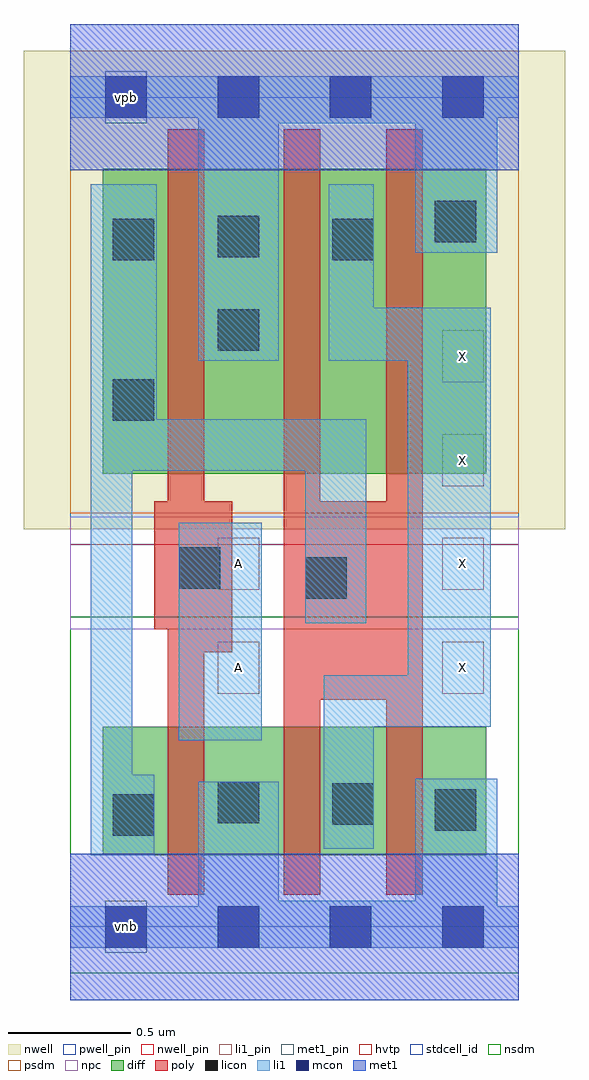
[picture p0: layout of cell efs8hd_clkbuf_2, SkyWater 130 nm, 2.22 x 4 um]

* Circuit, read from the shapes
.subckt efs8hd_clkbuf_2 A X vgnd vnb vpb vpwr
XM1 vgnd A n1 vnb sky130_fd_pr__nfet_01v8 w=0.525 l=0.15
XM2 X n1 vgnd vnb sky130_fd_pr__nfet_01v8 w=0.525 l=0.15 m=2
XM3 vpwr A n1 vpb sky130_fd_pr__pfet_01v8_hvt w=1.25 l=0.15
XM4 X n1 vpwr vpb sky130_fd_pr__pfet_01v8_hvt w=1.25 l=0.15 m=2
.ends

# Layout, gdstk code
import gdstk
lib = gdstk.Library(unit=1e-6, precision=1e-09)
def R(c, l, rs):  # rectangles x0, y0, x1, y1
    for r in rs: c.add(gdstk.rectangle(r[:2], r[2:], *l))
def A(c, l, x, y, w, h, nx, ny, dx, dy):  # array of equal rectangles
    R(c, l, [(x+i*dx, y+j*dy, x+i*dx+w, y+j*dy+h) for i in range(nx) for j in range(ny)])
def P(c, l, *ps):  # polygons
    for p in ps: c.add(gdstk.Polygon(p, *l))
nwell_pin = (64, 16)
nwell = (64, 20)
diff = (65, 20)
poly = (66, 20)
licon = (66, 44)
li1_pin = (67, 16)
li1 = (67, 20)
mcon = (67, 44)
met1_pin = (68, 16)
met1 = (68, 20)
hvtp = (78, 44)
stdcell_id = (81, 4)
nsdm = (93, 44)
psdm = (94, 20)
npc = (95, 20)
pwell_pin = (122, 16)

efs8hd_clkbuf_2 = lib.new_cell('efs8hd_clkbuf_2')
R(efs8hd_clkbuf_2, nwell_pin, [(0.145,3.294,0.315,3.506)])
R(efs8hd_clkbuf_2, nwell, [(-0.19,1.63,2.03,3.59)])
R(efs8hd_clkbuf_2, diff, [(0.135,0.294,1.705,0.819), (0.135,1.856,1.705,3.106)])
P(efs8hd_clkbuf_2, poly, [(0.4,3.269),(0.4,1.744),(0.345,1.744),(0.345,1.219),(0.4,1.219),(0.4,0.131),(0.55,0.131),(0.55,1.125),(0.665,1.125),(0.665,1.744),(0.55,1.744),(0.55,3.269)],
  [(1.295,3.269),(1.295,1.744),(1.025,1.744),(1.025,3.269),(0.875,3.269),(0.875,0.131),(1.025,0.131),(1.025,0.931),(1.295,0.931),(1.295,0.131),(1.445,0.131),(1.445,3.269)])
R(efs8hd_clkbuf_2, licon, [(0.175,0.374,0.345,0.544), (1.495,0.394,1.665,0.564), (1.075,0.419,1.245,0.589), (0.605,0.425,0.775,0.595), (0.965,1.344,1.135,1.514), (0.445,1.386,0.615,1.556), (0.175,2.075,0.345,2.245), (0.605,2.361,0.775,2.531), (0.175,2.731,0.345,2.901), (1.075,2.731,1.245,2.901), (0.605,2.744,0.775,2.914), (1.495,2.805,1.665,2.975)])
A(efs8hd_clkbuf_2, li1_pin, 1.525, 0.956, 0.17, 0.213, 1, 4, 0, 0.425)
R(efs8hd_clkbuf_2, li1_pin, [(0.605,0.956,0.775,1.169), (0.605,1.381,0.775,1.594)])
R(efs8hd_clkbuf_2, li1, [(0.445,0.765,0.785,1.656)])
P(efs8hd_clkbuf_2, li1, [(0.525,0.595),(0.525,0.085),(0,0.085),(0,-0.085),(1.84,-0.085),(1.84,0.085),(1.75,0.085),(1.75,0.606),(1.415,0.606),(1.415,0.106),(0.855,0.106),(0.855,0.595)],
  [(0.085,3.044),(0.085,0.294),(0.345,0.294),(0.345,0.624),(0.255,0.624),(0.255,1.869),(0.965,1.869),(0.965,1.244),(1.215,1.244),(1.215,2.081),(0.355,2.081),(0.355,3.044)],
  [(1.06,3.044),(1.06,2.319),(1.385,2.319),(1.385,1.031),(1.04,1.031),(1.04,0.319),(1.245,0.319),(1.245,0.819),(1.725,0.819),(1.725,2.538),(1.245,2.538),(1.245,3.044)],
  [(0,3.485),(0,3.315),(0.525,3.315),(0.525,2.319),(0.855,2.319),(0.855,3.294),(1.415,3.294),(1.415,2.763),(1.75,2.763),(1.75,3.315),(1.84,3.315),(1.84,3.485)])
R(efs8hd_clkbuf_2, mcon, [(0.145,-0.085,0.315,0.085), (0.145,-0.085,0.315,0.085), (0.145,-0.085,0.315,0.085), (0.145,-0.085,0.315,0.085), (0.145,-0.085,0.315,0.085), (0.145,-0.085,0.315,0.085), (0.145,-0.085,0.315,0.085), (0.145,-0.085,0.315,0.085), (0.145,-0.085,0.315,0.085), (0.145,-0.085,0.315,0.085), (0.145,-0.085,0.315,0.085), (0.145,-0.085,0.315,0.085), (0.145,-0.085,0.315,0.085), (0.145,-0.085,0.315,0.085), (0.145,-0.085,0.315,0.085), (0.145,-0.085,0.315,0.085), (0.145,-0.085,0.315,0.085), (0.145,-0.085,0.315,0.085), (0.145,-0.085,0.315,0.085), (0.145,-0.085,0.315,0.085), (0.145,-0.085,0.315,0.085), (0.145,-0.085,0.315,0.085), (0.145,-0.085,0.315,0.085), (0.145,-0.085,0.315,0.085), (0.145,-0.085,0.315,0.085), (0.145,-0.085,0.315,0.085), (0.145,-0.085,0.315,0.085), (0.145,-0.085,0.315,0.085), (0.145,-0.085,0.315,0.085), (0.145,-0.085,0.315,0.085), (0.145,-0.085,0.315,0.085), (0.145,-0.085,0.315,0.085), (0.145,-0.085,0.315,0.085), (0.145,-0.085,0.315,0.085), (0.145,-0.085,0.315,0.085), (0.145,-0.085,0.315,0.085), (0.145,-0.085,0.315,0.085), (0.145,-0.085,0.315,0.085), (0.145,-0.085,0.315,0.085), (0.145,-0.085,0.315,0.085), (0.145,-0.085,0.315,0.085), (0.145,-0.085,0.315,0.085), (0.145,-0.085,0.315,0.085), (0.145,-0.085,0.315,0.085), (0.145,-0.085,0.315,0.085), (0.145,-0.085,0.315,0.085), (0.145,-0.085,0.315,0.085), (0.145,-0.085,0.315,0.085), (0.145,-0.085,0.315,0.085), (0.145,-0.085,0.315,0.085), (0.145,-0.085,0.315,0.085), (0.145,-0.085,0.315,0.085), (0.145,-0.085,0.315,0.085), (0.145,-0.085,0.315,0.085), (0.145,-0.085,0.315,0.085), (0.145,-0.085,0.315,0.085), (0.145,-0.085,0.315,0.085), (0.145,-0.085,0.315,0.085), (0.145,-0.085,0.315,0.085), (0.145,-0.085,0.315,0.085), (0.145,-0.085,0.315,0.085), (0.145,-0.085,0.315,0.085), (0.145,-0.085,0.315,0.085), (0.145,-0.085,0.315,0.085), (0.145,-0.085,0.315,0.085), (0.145,-0.085,0.315,0.085), (0.145,-0.085,0.315,0.085), (0.145,-0.085,0.315,0.085), (0.145,-0.085,0.315,0.085), (0.145,-0.085,0.315,0.085), (0.145,-0.085,0.315,0.085), (0.145,-0.085,0.315,0.085), (0.145,-0.085,0.315,0.085), (0.145,-0.085,0.315,0.085), (0.145,-0.085,0.315,0.085), (0.145,-0.085,0.315,0.085), (0.145,-0.085,0.315,0.085), (0.145,-0.085,0.315,0.085), (0.145,-0.085,0.315,0.085), (0.145,-0.085,0.315,0.085), (0.145,-0.085,0.315,0.085), (0.145,-0.085,0.315,0.085), (0.145,-0.085,0.315,0.085), (0.145,-0.085,0.315,0.085), (0.145,-0.085,0.315,0.085), (0.145,-0.085,0.315,0.085), (0.145,-0.085,0.315,0.085), (0.145,-0.085,0.315,0.085), (0.145,-0.085,0.315,0.085), (0.145,-0.085,0.315,0.085), (0.145,-0.085,0.315,0.085), (0.145,-0.085,0.315,0.085), (0.145,-0.085,0.315,0.085), (0.145,-0.085,0.315,0.085), (0.145,-0.085,0.315,0.085), (0.145,-0.085,0.315,0.085), (0.145,-0.085,0.315,0.085), (0.145,-0.085,0.315,0.085), (0.145,-0.085,0.315,0.085), (0.145,-0.085,0.315,0.085), (0.145,-0.085,0.315,0.085), (0.145,-0.085,0.315,0.085), (0.145,-0.085,0.315,0.085), (0.145,-0.085,0.315,0.085), (0.145,-0.085,0.315,0.085), (0.145,-0.085,0.315,0.085), (0.145,-0.085,0.315,0.085), (0.145,-0.085,0.315,0.085), (0.145,-0.085,0.315,0.085), (0.605,-0.085,0.775,0.085), (0.605,-0.085,0.775,0.085), (0.605,-0.085,0.775,0.085), (0.605,-0.085,0.775,0.085), (0.605,-0.085,0.775,0.085), (0.605,-0.085,0.775,0.085), (0.605,-0.085,0.775,0.085), (0.605,-0.085,0.775,0.085), (0.605,-0.085,0.775,0.085), (0.605,-0.085,0.775,0.085), (0.605,-0.085,0.775,0.085), (0.605,-0.085,0.775,0.085), (0.605,-0.085,0.775,0.085), (0.605,-0.085,0.775,0.085), (0.605,-0.085,0.775,0.085), (0.605,-0.085,0.775,0.085), (0.605,-0.085,0.775,0.085), (0.605,-0.085,0.775,0.085), (0.605,-0.085,0.775,0.085), (0.605,-0.085,0.775,0.085), (0.605,-0.085,0.775,0.085), (0.605,-0.085,0.775,0.085), (0.605,-0.085,0.775,0.085), (0.605,-0.085,0.775,0.085), (0.605,-0.085,0.775,0.085), (0.605,-0.085,0.775,0.085), (0.605,-0.085,0.775,0.085), (0.605,-0.085,0.775,0.085), (0.605,-0.085,0.775,0.085), (0.605,-0.085,0.775,0.085), (0.605,-0.085,0.775,0.085), (0.605,-0.085,0.775,0.085), (0.605,-0.085,0.775,0.085), (0.605,-0.085,0.775,0.085), (0.605,-0.085,0.775,0.085), (0.605,-0.085,0.775,0.085), (0.605,-0.085,0.775,0.085), (0.605,-0.085,0.775,0.085), (0.605,-0.085,0.775,0.085), (0.605,-0.085,0.775,0.085), (0.605,-0.085,0.775,0.085), (0.605,-0.085,0.775,0.085), (0.605,-0.085,0.775,0.085), (0.605,-0.085,0.775,0.085), (0.605,-0.085,0.775,0.085), (0.605,-0.085,0.775,0.085), (0.605,-0.085,0.775,0.085), (0.605,-0.085,0.775,0.085), (0.605,-0.085,0.775,0.085), (0.605,-0.085,0.775,0.085), (0.605,-0.085,0.775,0.085), (0.605,-0.085,0.775,0.085), (0.605,-0.085,0.775,0.085), (0.605,-0.085,0.775,0.085), (0.605,-0.085,0.775,0.085), (0.605,-0.085,0.775,0.085), (0.605,-0.085,0.775,0.085), (0.605,-0.085,0.775,0.085), (0.605,-0.085,0.775,0.085), (0.605,-0.085,0.775,0.085), (0.605,-0.085,0.775,0.085), (0.605,-0.085,0.775,0.085), (0.605,-0.085,0.775,0.085), (0.605,-0.085,0.775,0.085), (0.605,-0.085,0.775,0.085), (0.605,-0.085,0.775,0.085), (0.605,-0.085,0.775,0.085), (0.605,-0.085,0.775,0.085), (0.605,-0.085,0.775,0.085), (0.605,-0.085,0.775,0.085), (0.605,-0.085,0.775,0.085), (0.605,-0.085,0.775,0.085), (0.605,-0.085,0.775,0.085), (0.605,-0.085,0.775,0.085), (0.605,-0.085,0.775,0.085), (0.605,-0.085,0.775,0.085), (0.605,-0.085,0.775,0.085), (0.605,-0.085,0.775,0.085), (0.605,-0.085,0.775,0.085), (0.605,-0.085,0.775,0.085), (0.605,-0.085,0.775,0.085), (0.605,-0.085,0.775,0.085), (0.605,-0.085,0.775,0.085), (0.605,-0.085,0.775,0.085), (0.605,-0.085,0.775,0.085), (0.605,-0.085,0.775,0.085), (0.605,-0.085,0.775,0.085), (0.605,-0.085,0.775,0.085), (0.605,-0.085,0.775,0.085), (0.605,-0.085,0.775,0.085), (0.605,-0.085,0.775,0.085), (0.605,-0.085,0.775,0.085), (0.605,-0.085,0.775,0.085), (0.605,-0.085,0.775,0.085), (0.605,-0.085,0.775,0.085), (0.605,-0.085,0.775,0.085), (0.605,-0.085,0.775,0.085), (0.605,-0.085,0.775,0.085), (0.605,-0.085,0.775,0.085), (0.605,-0.085,0.775,0.085), (0.605,-0.085,0.775,0.085), (0.605,-0.085,0.775,0.085), (0.605,-0.085,0.775,0.085), (0.605,-0.085,0.775,0.085), (0.605,-0.085,0.775,0.085), (0.605,-0.085,0.775,0.085), (0.605,-0.085,0.775,0.085), (0.605,-0.085,0.775,0.085), (0.605,-0.085,0.775,0.085), (1.065,-0.085,1.235,0.085), (1.065,-0.085,1.235,0.085), (1.065,-0.085,1.235,0.085), (1.065,-0.085,1.235,0.085), (1.065,-0.085,1.235,0.085), (1.065,-0.085,1.235,0.085), (1.065,-0.085,1.235,0.085), (1.065,-0.085,1.235,0.085), (1.065,-0.085,1.235,0.085), (1.065,-0.085,1.235,0.085), (1.065,-0.085,1.235,0.085), (1.065,-0.085,1.235,0.085), (1.065,-0.085,1.235,0.085), (1.065,-0.085,1.235,0.085), (1.065,-0.085,1.235,0.085), (1.065,-0.085,1.235,0.085), (1.065,-0.085,1.235,0.085), (1.065,-0.085,1.235,0.085), (1.065,-0.085,1.235,0.085), (1.065,-0.085,1.235,0.085), (1.065,-0.085,1.235,0.085), (1.065,-0.085,1.235,0.085), (1.065,-0.085,1.235,0.085), (1.065,-0.085,1.235,0.085), (1.065,-0.085,1.235,0.085), (1.065,-0.085,1.235,0.085), (1.065,-0.085,1.235,0.085), (1.065,-0.085,1.235,0.085), (1.065,-0.085,1.235,0.085), (1.065,-0.085,1.235,0.085), (1.065,-0.085,1.235,0.085), (1.065,-0.085,1.235,0.085), (1.065,-0.085,1.235,0.085), (1.065,-0.085,1.235,0.085), (1.065,-0.085,1.235,0.085), (1.065,-0.085,1.235,0.085), (1.065,-0.085,1.235,0.085), (1.065,-0.085,1.235,0.085), (1.065,-0.085,1.235,0.085), (1.065,-0.085,1.235,0.085), (1.065,-0.085,1.235,0.085), (1.065,-0.085,1.235,0.085), (1.065,-0.085,1.235,0.085), (1.065,-0.085,1.235,0.085), (1.065,-0.085,1.235,0.085), (1.065,-0.085,1.235,0.085), (1.065,-0.085,1.235,0.085), (1.065,-0.085,1.235,0.085), (1.065,-0.085,1.235,0.085), (1.065,-0.085,1.235,0.085), (1.065,-0.085,1.235,0.085), (1.065,-0.085,1.235,0.085), (1.065,-0.085,1.235,0.085), (1.065,-0.085,1.235,0.085), (1.065,-0.085,1.235,0.085), (1.065,-0.085,1.235,0.085), (1.065,-0.085,1.235,0.085), (1.065,-0.085,1.235,0.085), (1.065,-0.085,1.235,0.085), (1.065,-0.085,1.235,0.085), (1.065,-0.085,1.235,0.085), (1.065,-0.085,1.235,0.085), (1.065,-0.085,1.235,0.085), (1.065,-0.085,1.235,0.085), (1.065,-0.085,1.235,0.085), (1.065,-0.085,1.235,0.085), (1.065,-0.085,1.235,0.085), (1.065,-0.085,1.235,0.085), (1.065,-0.085,1.235,0.085), (1.065,-0.085,1.235,0.085), (1.065,-0.085,1.235,0.085), (1.065,-0.085,1.235,0.085), (1.065,-0.085,1.235,0.085), (1.065,-0.085,1.235,0.085), (1.065,-0.085,1.235,0.085), (1.065,-0.085,1.235,0.085), (1.065,-0.085,1.235,0.085), (1.065,-0.085,1.235,0.085), (1.065,-0.085,1.235,0.085), (1.065,-0.085,1.235,0.085), (1.065,-0.085,1.235,0.085), (1.065,-0.085,1.235,0.085), (1.065,-0.085,1.235,0.085), (1.065,-0.085,1.235,0.085), (1.065,-0.085,1.235,0.085), (1.065,-0.085,1.235,0.085), (1.065,-0.085,1.235,0.085), (1.065,-0.085,1.235,0.085), (1.065,-0.085,1.235,0.085), (1.065,-0.085,1.235,0.085), (1.065,-0.085,1.235,0.085), (1.065,-0.085,1.235,0.085), (1.065,-0.085,1.235,0.085), (1.065,-0.085,1.235,0.085), (1.065,-0.085,1.235,0.085), (1.065,-0.085,1.235,0.085), (1.065,-0.085,1.235,0.085), (1.065,-0.085,1.235,0.085), (1.065,-0.085,1.235,0.085), (1.065,-0.085,1.235,0.085), (1.065,-0.085,1.235,0.085), (1.065,-0.085,1.235,0.085), (1.065,-0.085,1.235,0.085), (1.065,-0.085,1.235,0.085), (1.065,-0.085,1.235,0.085), (1.065,-0.085,1.235,0.085), (1.065,-0.085,1.235,0.085), (1.065,-0.085,1.235,0.085), (1.065,-0.085,1.235,0.085), (1.525,-0.085,1.695,0.085), (1.525,-0.085,1.695,0.085), (1.525,-0.085,1.695,0.085), (1.525,-0.085,1.695,0.085), (1.525,-0.085,1.695,0.085), (1.525,-0.085,1.695,0.085), (1.525,-0.085,1.695,0.085), (1.525,-0.085,1.695,0.085), (1.525,-0.085,1.695,0.085), (1.525,-0.085,1.695,0.085), (1.525,-0.085,1.695,0.085), (1.525,-0.085,1.695,0.085), (1.525,-0.085,1.695,0.085), (1.525,-0.085,1.695,0.085), (1.525,-0.085,1.695,0.085), (1.525,-0.085,1.695,0.085), (1.525,-0.085,1.695,0.085), (1.525,-0.085,1.695,0.085), (1.525,-0.085,1.695,0.085), (1.525,-0.085,1.695,0.085), (1.525,-0.085,1.695,0.085), (1.525,-0.085,1.695,0.085), (1.525,-0.085,1.695,0.085), (1.525,-0.085,1.695,0.085), (1.525,-0.085,1.695,0.085), (1.525,-0.085,1.695,0.085), (1.525,-0.085,1.695,0.085), (1.525,-0.085,1.695,0.085), (1.525,-0.085,1.695,0.085), (1.525,-0.085,1.695,0.085), (1.525,-0.085,1.695,0.085), (1.525,-0.085,1.695,0.085), (1.525,-0.085,1.695,0.085), (1.525,-0.085,1.695,0.085), (1.525,-0.085,1.695,0.085), (1.525,-0.085,1.695,0.085), (1.525,-0.085,1.695,0.085), (1.525,-0.085,1.695,0.085), (1.525,-0.085,1.695,0.085), (1.525,-0.085,1.695,0.085), (1.525,-0.085,1.695,0.085), (1.525,-0.085,1.695,0.085), (1.525,-0.085,1.695,0.085), (1.525,-0.085,1.695,0.085), (1.525,-0.085,1.695,0.085), (1.525,-0.085,1.695,0.085), (1.525,-0.085,1.695,0.085), (1.525,-0.085,1.695,0.085), (1.525,-0.085,1.695,0.085), (1.525,-0.085,1.695,0.085), (1.525,-0.085,1.695,0.085), (1.525,-0.085,1.695,0.085), (1.525,-0.085,1.695,0.085), (1.525,-0.085,1.695,0.085), (1.525,-0.085,1.695,0.085), (1.525,-0.085,1.695,0.085), (1.525,-0.085,1.695,0.085), (1.525,-0.085,1.695,0.085), (1.525,-0.085,1.695,0.085), (1.525,-0.085,1.695,0.085), (1.525,-0.085,1.695,0.085), (1.525,-0.085,1.695,0.085), (1.525,-0.085,1.695,0.085), (1.525,-0.085,1.695,0.085), (1.525,-0.085,1.695,0.085), (1.525,-0.085,1.695,0.085), (1.525,-0.085,1.695,0.085), (1.525,-0.085,1.695,0.085), (1.525,-0.085,1.695,0.085), (1.525,-0.085,1.695,0.085), (1.525,-0.085,1.695,0.085), (1.525,-0.085,1.695,0.085), (1.525,-0.085,1.695,0.085), (1.525,-0.085,1.695,0.085), (1.525,-0.085,1.695,0.085), (1.525,-0.085,1.695,0.085), (1.525,-0.085,1.695,0.085), (1.525,-0.085,1.695,0.085), (1.525,-0.085,1.695,0.085), (1.525,-0.085,1.695,0.085), (1.525,-0.085,1.695,0.085), (1.525,-0.085,1.695,0.085), (1.525,-0.085,1.695,0.085), (1.525,-0.085,1.695,0.085), (1.525,-0.085,1.695,0.085), (1.525,-0.085,1.695,0.085), (1.525,-0.085,1.695,0.085), (1.525,-0.085,1.695,0.085), (1.525,-0.085,1.695,0.085), (1.525,-0.085,1.695,0.085), (1.525,-0.085,1.695,0.085), (1.525,-0.085,1.695,0.085), (1.525,-0.085,1.695,0.085), (1.525,-0.085,1.695,0.085), (1.525,-0.085,1.695,0.085), (1.525,-0.085,1.695,0.085), (1.525,-0.085,1.695,0.085), (1.525,-0.085,1.695,0.085), (1.525,-0.085,1.695,0.085), (1.525,-0.085,1.695,0.085), (1.525,-0.085,1.695,0.085), (1.525,-0.085,1.695,0.085), (1.525,-0.085,1.695,0.085), (1.525,-0.085,1.695,0.085), (1.525,-0.085,1.695,0.085), (1.525,-0.085,1.695,0.085), (1.525,-0.085,1.695,0.085), (1.525,-0.085,1.695,0.085), (1.525,-0.085,1.695,0.085), (0.145,3.315,0.315,3.485), (0.145,3.315,0.315,3.485), (0.145,3.315,0.315,3.485), (0.145,3.315,0.315,3.485), (0.145,3.315,0.315,3.485), (0.145,3.315,0.315,3.485), (0.145,3.315,0.315,3.485), (0.145,3.315,0.315,3.485), (0.145,3.315,0.315,3.485), (0.145,3.315,0.315,3.485), (0.145,3.315,0.315,3.485), (0.145,3.315,0.315,3.485), (0.145,3.315,0.315,3.485), (0.145,3.315,0.315,3.485), (0.145,3.315,0.315,3.485), (0.145,3.315,0.315,3.485), (0.145,3.315,0.315,3.485), (0.145,3.315,0.315,3.485), (0.145,3.315,0.315,3.485), (0.145,3.315,0.315,3.485), (0.145,3.315,0.315,3.485), (0.145,3.315,0.315,3.485), (0.145,3.315,0.315,3.485), (0.145,3.315,0.315,3.485), (0.145,3.315,0.315,3.485), (0.145,3.315,0.315,3.485), (0.145,3.315,0.315,3.485), (0.145,3.315,0.315,3.485), (0.145,3.315,0.315,3.485), (0.145,3.315,0.315,3.485), (0.145,3.315,0.315,3.485), (0.145,3.315,0.315,3.485), (0.145,3.315,0.315,3.485), (0.145,3.315,0.315,3.485), (0.145,3.315,0.315,3.485), (0.145,3.315,0.315,3.485), (0.145,3.315,0.315,3.485), (0.145,3.315,0.315,3.485), (0.145,3.315,0.315,3.485), (0.145,3.315,0.315,3.485), (0.145,3.315,0.315,3.485), (0.145,3.315,0.315,3.485), (0.145,3.315,0.315,3.485), (0.145,3.315,0.315,3.485), (0.145,3.315,0.315,3.485), (0.145,3.315,0.315,3.485), (0.145,3.315,0.315,3.485), (0.145,3.315,0.315,3.485), (0.145,3.315,0.315,3.485), (0.145,3.315,0.315,3.485), (0.145,3.315,0.315,3.485), (0.145,3.315,0.315,3.485), (0.145,3.315,0.315,3.485), (0.145,3.315,0.315,3.485), (0.145,3.315,0.315,3.485), (0.145,3.315,0.315,3.485), (0.145,3.315,0.315,3.485), (0.145,3.315,0.315,3.485), (0.145,3.315,0.315,3.485), (0.145,3.315,0.315,3.485), (0.145,3.315,0.315,3.485), (0.145,3.315,0.315,3.485), (0.145,3.315,0.315,3.485), (0.145,3.315,0.315,3.485), (0.145,3.315,0.315,3.485), (0.145,3.315,0.315,3.485), (0.145,3.315,0.315,3.485), (0.145,3.315,0.315,3.485), (0.145,3.315,0.315,3.485), (0.145,3.315,0.315,3.485), (0.145,3.315,0.315,3.485), (0.145,3.315,0.315,3.485), (0.145,3.315,0.315,3.485), (0.145,3.315,0.315,3.485), (0.145,3.315,0.315,3.485), (0.145,3.315,0.315,3.485), (0.145,3.315,0.315,3.485), (0.145,3.315,0.315,3.485), (0.145,3.315,0.315,3.485), (0.145,3.315,0.315,3.485), (0.145,3.315,0.315,3.485), (0.145,3.315,0.315,3.485), (0.145,3.315,0.315,3.485), (0.145,3.315,0.315,3.485), (0.145,3.315,0.315,3.485), (0.145,3.315,0.315,3.485), (0.145,3.315,0.315,3.485), (0.145,3.315,0.315,3.485), (0.145,3.315,0.315,3.485), (0.145,3.315,0.315,3.485), (0.145,3.315,0.315,3.485), (0.145,3.315,0.315,3.485), (0.145,3.315,0.315,3.485), (0.145,3.315,0.315,3.485), (0.145,3.315,0.315,3.485), (0.145,3.315,0.315,3.485), (0.145,3.315,0.315,3.485), (0.145,3.315,0.315,3.485), (0.145,3.315,0.315,3.485), (0.145,3.315,0.315,3.485), (0.145,3.315,0.315,3.485), (0.145,3.315,0.315,3.485), (0.145,3.315,0.315,3.485), (0.145,3.315,0.315,3.485), (0.145,3.315,0.315,3.485), (0.145,3.315,0.315,3.485), (0.145,3.315,0.315,3.485), (0.145,3.315,0.315,3.485), (0.145,3.315,0.315,3.485), (0.605,3.315,0.775,3.485), (0.605,3.315,0.775,3.485), (0.605,3.315,0.775,3.485), (0.605,3.315,0.775,3.485), (0.605,3.315,0.775,3.485), (0.605,3.315,0.775,3.485), (0.605,3.315,0.775,3.485), (0.605,3.315,0.775,3.485), (0.605,3.315,0.775,3.485), (0.605,3.315,0.775,3.485), (0.605,3.315,0.775,3.485), (0.605,3.315,0.775,3.485), (0.605,3.315,0.775,3.485), (0.605,3.315,0.775,3.485), (0.605,3.315,0.775,3.485), (0.605,3.315,0.775,3.485), (0.605,3.315,0.775,3.485), (0.605,3.315,0.775,3.485), (0.605,3.315,0.775,3.485), (0.605,3.315,0.775,3.485), (0.605,3.315,0.775,3.485), (0.605,3.315,0.775,3.485), (0.605,3.315,0.775,3.485), (0.605,3.315,0.775,3.485), (0.605,3.315,0.775,3.485), (0.605,3.315,0.775,3.485), (0.605,3.315,0.775,3.485), (0.605,3.315,0.775,3.485), (0.605,3.315,0.775,3.485), (0.605,3.315,0.775,3.485), (0.605,3.315,0.775,3.485), (0.605,3.315,0.775,3.485), (0.605,3.315,0.775,3.485), (0.605,3.315,0.775,3.485), (0.605,3.315,0.775,3.485), (0.605,3.315,0.775,3.485), (0.605,3.315,0.775,3.485), (0.605,3.315,0.775,3.485), (0.605,3.315,0.775,3.485), (0.605,3.315,0.775,3.485), (0.605,3.315,0.775,3.485), (0.605,3.315,0.775,3.485), (0.605,3.315,0.775,3.485), (0.605,3.315,0.775,3.485), (0.605,3.315,0.775,3.485), (0.605,3.315,0.775,3.485), (0.605,3.315,0.775,3.485), (0.605,3.315,0.775,3.485), (0.605,3.315,0.775,3.485), (0.605,3.315,0.775,3.485), (0.605,3.315,0.775,3.485), (0.605,3.315,0.775,3.485), (0.605,3.315,0.775,3.485), (0.605,3.315,0.775,3.485), (0.605,3.315,0.775,3.485), (0.605,3.315,0.775,3.485), (0.605,3.315,0.775,3.485), (0.605,3.315,0.775,3.485), (0.605,3.315,0.775,3.485), (0.605,3.315,0.775,3.485), (0.605,3.315,0.775,3.485), (0.605,3.315,0.775,3.485), (0.605,3.315,0.775,3.485), (0.605,3.315,0.775,3.485), (0.605,3.315,0.775,3.485), (0.605,3.315,0.775,3.485), (0.605,3.315,0.775,3.485), (0.605,3.315,0.775,3.485), (0.605,3.315,0.775,3.485), (0.605,3.315,0.775,3.485), (0.605,3.315,0.775,3.485), (0.605,3.315,0.775,3.485), (0.605,3.315,0.775,3.485), (0.605,3.315,0.775,3.485), (0.605,3.315,0.775,3.485), (0.605,3.315,0.775,3.485), (0.605,3.315,0.775,3.485), (0.605,3.315,0.775,3.485), (0.605,3.315,0.775,3.485), (0.605,3.315,0.775,3.485), (0.605,3.315,0.775,3.485), (0.605,3.315,0.775,3.485), (0.605,3.315,0.775,3.485), (0.605,3.315,0.775,3.485), (0.605,3.315,0.775,3.485), (0.605,3.315,0.775,3.485), (0.605,3.315,0.775,3.485), (0.605,3.315,0.775,3.485), (0.605,3.315,0.775,3.485), (0.605,3.315,0.775,3.485), (0.605,3.315,0.775,3.485), (0.605,3.315,0.775,3.485), (0.605,3.315,0.775,3.485), (0.605,3.315,0.775,3.485), (0.605,3.315,0.775,3.485), (0.605,3.315,0.775,3.485), (0.605,3.315,0.775,3.485), (0.605,3.315,0.775,3.485), (0.605,3.315,0.775,3.485), (0.605,3.315,0.775,3.485), (0.605,3.315,0.775,3.485), (0.605,3.315,0.775,3.485), (0.605,3.315,0.775,3.485), (0.605,3.315,0.775,3.485), (0.605,3.315,0.775,3.485), (0.605,3.315,0.775,3.485), (0.605,3.315,0.775,3.485), (0.605,3.315,0.775,3.485), (0.605,3.315,0.775,3.485), (1.065,3.315,1.235,3.485), (1.065,3.315,1.235,3.485), (1.065,3.315,1.235,3.485), (1.065,3.315,1.235,3.485), (1.065,3.315,1.235,3.485), (1.065,3.315,1.235,3.485), (1.065,3.315,1.235,3.485), (1.065,3.315,1.235,3.485), (1.065,3.315,1.235,3.485), (1.065,3.315,1.235,3.485), (1.065,3.315,1.235,3.485), (1.065,3.315,1.235,3.485), (1.065,3.315,1.235,3.485), (1.065,3.315,1.235,3.485), (1.065,3.315,1.235,3.485), (1.065,3.315,1.235,3.485), (1.065,3.315,1.235,3.485), (1.065,3.315,1.235,3.485), (1.065,3.315,1.235,3.485), (1.065,3.315,1.235,3.485), (1.065,3.315,1.235,3.485), (1.065,3.315,1.235,3.485), (1.065,3.315,1.235,3.485), (1.065,3.315,1.235,3.485), (1.065,3.315,1.235,3.485), (1.065,3.315,1.235,3.485), (1.065,3.315,1.235,3.485), (1.065,3.315,1.235,3.485), (1.065,3.315,1.235,3.485), (1.065,3.315,1.235,3.485), (1.065,3.315,1.235,3.485), (1.065,3.315,1.235,3.485), (1.065,3.315,1.235,3.485), (1.065,3.315,1.235,3.485), (1.065,3.315,1.235,3.485), (1.065,3.315,1.235,3.485), (1.065,3.315,1.235,3.485), (1.065,3.315,1.235,3.485), (1.065,3.315,1.235,3.485), (1.065,3.315,1.235,3.485), (1.065,3.315,1.235,3.485), (1.065,3.315,1.235,3.485), (1.065,3.315,1.235,3.485), (1.065,3.315,1.235,3.485), (1.065,3.315,1.235,3.485), (1.065,3.315,1.235,3.485), (1.065,3.315,1.235,3.485), (1.065,3.315,1.235,3.485), (1.065,3.315,1.235,3.485), (1.065,3.315,1.235,3.485), (1.065,3.315,1.235,3.485), (1.065,3.315,1.235,3.485), (1.065,3.315,1.235,3.485), (1.065,3.315,1.235,3.485), (1.065,3.315,1.235,3.485), (1.065,3.315,1.235,3.485), (1.065,3.315,1.235,3.485), (1.065,3.315,1.235,3.485), (1.065,3.315,1.235,3.485), (1.065,3.315,1.235,3.485), (1.065,3.315,1.235,3.485), (1.065,3.315,1.235,3.485), (1.065,3.315,1.235,3.485), (1.065,3.315,1.235,3.485), (1.065,3.315,1.235,3.485), (1.065,3.315,1.235,3.485), (1.065,3.315,1.235,3.485), (1.065,3.315,1.235,3.485), (1.065,3.315,1.235,3.485), (1.065,3.315,1.235,3.485), (1.065,3.315,1.235,3.485), (1.065,3.315,1.235,3.485), (1.065,3.315,1.235,3.485), (1.065,3.315,1.235,3.485), (1.065,3.315,1.235,3.485), (1.065,3.315,1.235,3.485), (1.065,3.315,1.235,3.485), (1.065,3.315,1.235,3.485), (1.065,3.315,1.235,3.485), (1.065,3.315,1.235,3.485), (1.065,3.315,1.235,3.485), (1.065,3.315,1.235,3.485), (1.065,3.315,1.235,3.485), (1.065,3.315,1.235,3.485), (1.065,3.315,1.235,3.485), (1.065,3.315,1.235,3.485), (1.065,3.315,1.235,3.485), (1.065,3.315,1.235,3.485), (1.065,3.315,1.235,3.485), (1.065,3.315,1.235,3.485), (1.065,3.315,1.235,3.485), (1.065,3.315,1.235,3.485), (1.065,3.315,1.235,3.485), (1.065,3.315,1.235,3.485), (1.065,3.315,1.235,3.485), (1.065,3.315,1.235,3.485), (1.065,3.315,1.235,3.485), (1.065,3.315,1.235,3.485), (1.065,3.315,1.235,3.485), (1.065,3.315,1.235,3.485), (1.065,3.315,1.235,3.485), (1.065,3.315,1.235,3.485), (1.065,3.315,1.235,3.485), (1.065,3.315,1.235,3.485), (1.065,3.315,1.235,3.485), (1.065,3.315,1.235,3.485), (1.065,3.315,1.235,3.485), (1.065,3.315,1.235,3.485), (1.065,3.315,1.235,3.485), (1.525,3.315,1.695,3.485), (1.525,3.315,1.695,3.485), (1.525,3.315,1.695,3.485), (1.525,3.315,1.695,3.485), (1.525,3.315,1.695,3.485), (1.525,3.315,1.695,3.485), (1.525,3.315,1.695,3.485), (1.525,3.315,1.695,3.485), (1.525,3.315,1.695,3.485), (1.525,3.315,1.695,3.485), (1.525,3.315,1.695,3.485), (1.525,3.315,1.695,3.485), (1.525,3.315,1.695,3.485), (1.525,3.315,1.695,3.485), (1.525,3.315,1.695,3.485), (1.525,3.315,1.695,3.485), (1.525,3.315,1.695,3.485), (1.525,3.315,1.695,3.485), (1.525,3.315,1.695,3.485), (1.525,3.315,1.695,3.485), (1.525,3.315,1.695,3.485), (1.525,3.315,1.695,3.485), (1.525,3.315,1.695,3.485), (1.525,3.315,1.695,3.485), (1.525,3.315,1.695,3.485), (1.525,3.315,1.695,3.485), (1.525,3.315,1.695,3.485), (1.525,3.315,1.695,3.485), (1.525,3.315,1.695,3.485), (1.525,3.315,1.695,3.485), (1.525,3.315,1.695,3.485), (1.525,3.315,1.695,3.485), (1.525,3.315,1.695,3.485), (1.525,3.315,1.695,3.485), (1.525,3.315,1.695,3.485), (1.525,3.315,1.695,3.485), (1.525,3.315,1.695,3.485), (1.525,3.315,1.695,3.485), (1.525,3.315,1.695,3.485), (1.525,3.315,1.695,3.485), (1.525,3.315,1.695,3.485), (1.525,3.315,1.695,3.485), (1.525,3.315,1.695,3.485), (1.525,3.315,1.695,3.485), (1.525,3.315,1.695,3.485), (1.525,3.315,1.695,3.485), (1.525,3.315,1.695,3.485), (1.525,3.315,1.695,3.485), (1.525,3.315,1.695,3.485), (1.525,3.315,1.695,3.485), (1.525,3.315,1.695,3.485), (1.525,3.315,1.695,3.485), (1.525,3.315,1.695,3.485), (1.525,3.315,1.695,3.485), (1.525,3.315,1.695,3.485), (1.525,3.315,1.695,3.485), (1.525,3.315,1.695,3.485), (1.525,3.315,1.695,3.485), (1.525,3.315,1.695,3.485), (1.525,3.315,1.695,3.485), (1.525,3.315,1.695,3.485), (1.525,3.315,1.695,3.485), (1.525,3.315,1.695,3.485), (1.525,3.315,1.695,3.485), (1.525,3.315,1.695,3.485), (1.525,3.315,1.695,3.485), (1.525,3.315,1.695,3.485), (1.525,3.315,1.695,3.485), (1.525,3.315,1.695,3.485), (1.525,3.315,1.695,3.485), (1.525,3.315,1.695,3.485), (1.525,3.315,1.695,3.485), (1.525,3.315,1.695,3.485), (1.525,3.315,1.695,3.485), (1.525,3.315,1.695,3.485), (1.525,3.315,1.695,3.485), (1.525,3.315,1.695,3.485), (1.525,3.315,1.695,3.485), (1.525,3.315,1.695,3.485), (1.525,3.315,1.695,3.485), (1.525,3.315,1.695,3.485), (1.525,3.315,1.695,3.485), (1.525,3.315,1.695,3.485), (1.525,3.315,1.695,3.485), (1.525,3.315,1.695,3.485), (1.525,3.315,1.695,3.485), (1.525,3.315,1.695,3.485), (1.525,3.315,1.695,3.485), (1.525,3.315,1.695,3.485), (1.525,3.315,1.695,3.485), (1.525,3.315,1.695,3.485), (1.525,3.315,1.695,3.485), (1.525,3.315,1.695,3.485), (1.525,3.315,1.695,3.485), (1.525,3.315,1.695,3.485), (1.525,3.315,1.695,3.485), (1.525,3.315,1.695,3.485), (1.525,3.315,1.695,3.485), (1.525,3.315,1.695,3.485), (1.525,3.315,1.695,3.485), (1.525,3.315,1.695,3.485), (1.525,3.315,1.695,3.485), (1.525,3.315,1.695,3.485), (1.525,3.315,1.695,3.485), (1.525,3.315,1.695,3.485), (1.525,3.315,1.695,3.485), (1.525,3.315,1.695,3.485), (1.525,3.315,1.695,3.485), (1.525,3.315,1.695,3.485)])
R(efs8hd_clkbuf_2, met1_pin, [(0.145,-0.106,0.315,0.106), (0.145,3.294,0.315,3.506)])
R(efs8hd_clkbuf_2, met1, [(0,-0.3,1.84,0.3), (0,3.1,1.84,3.7)])
R(efs8hd_clkbuf_2, hvtp, [(0,1.565,1.84,3.4)])
R(efs8hd_clkbuf_2, stdcell_id, [(0,0,1.84,3.4)])
R(efs8hd_clkbuf_2, nsdm, [(0,-0.19,1.84,1.27)])
R(efs8hd_clkbuf_2, psdm, [(0,1.695,1.84,3.59)])
R(efs8hd_clkbuf_2, npc, [(0,1.22,1.84,1.68)])
R(efs8hd_clkbuf_2, pwell_pin, [(0.145,-0.106,0.315,0.106)])
efs8hd_clkbuf_2.add(gdstk.Label('vnb', (0.23,0), layer=64, texttype=59))
efs8hd_clkbuf_2.add(gdstk.Label('efs8hd_clkbuf_2', (0,0), layer=83, texttype=44))
efs8hd_clkbuf_2.add(gdstk.Label('vpb', (0.23,3.4), layer=64, texttype=5))
efs8hd_clkbuf_2.add(gdstk.Label('A', (0.69,1.063), layer=67, texttype=5))
efs8hd_clkbuf_2.add(gdstk.Label('X', (1.61,1.063), layer=67, texttype=5))
efs8hd_clkbuf_2.add(gdstk.Label('A', (0.69,1.488), layer=67, texttype=5))
efs8hd_clkbuf_2.add(gdstk.Label('X', (1.61,1.488), layer=67, texttype=5))
efs8hd_clkbuf_2.add(gdstk.Label('X', (1.61,1.913), layer=67, texttype=5))
efs8hd_clkbuf_2.add(gdstk.Label('X', (1.61,2.338), layer=67, texttype=5))
efs8hd_clkbuf_2.add(gdstk.Label('vgnd', (0.23,0), layer=68, texttype=5))
efs8hd_clkbuf_2.add(gdstk.Label('vpwr', (0.23,3.4), layer=68, texttype=5))

lib.write_gds('efs8hd_clkbuf_2.gds')
